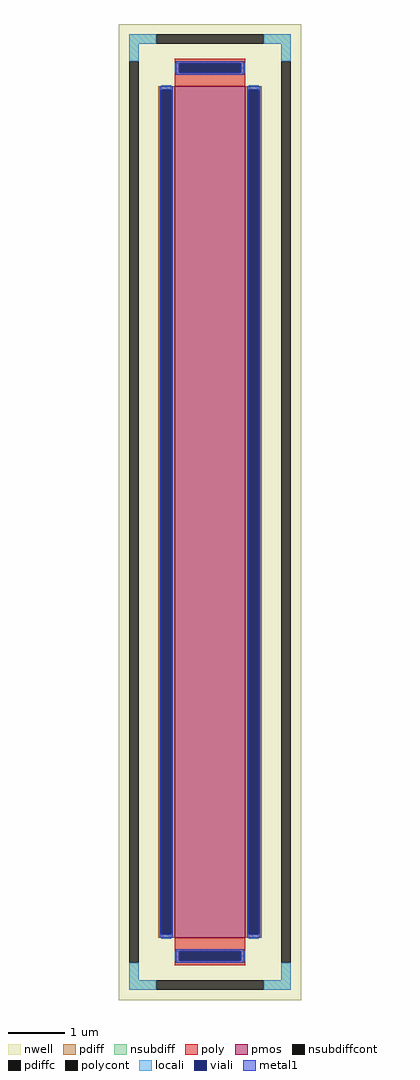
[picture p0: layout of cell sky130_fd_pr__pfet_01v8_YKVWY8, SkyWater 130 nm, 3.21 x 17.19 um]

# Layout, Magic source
magic
tech sky130A
magscale 1 2
<< nwell >>
rect -321 -1719 321 1719
<< pmos >>
rect -125 -1500 125 1500
<< pdiff >>
rect -183 1488 -125 1500
rect -183 -1488 -171 1488
rect -137 -1488 -125 1488
rect -183 -1500 -125 -1488
rect 125 1488 183 1500
rect 125 -1488 137 1488
rect 171 -1488 183 1488
rect 125 -1500 183 -1488
<< pdiffc >>
rect -171 -1488 -137 1488
rect 137 -1488 171 1488
<< nsubdiff >>
rect -285 1649 -189 1683
rect 189 1649 285 1683
rect -285 1587 -251 1649
rect 251 1587 285 1649
rect -285 -1649 -251 -1587
rect 251 -1649 285 -1587
rect -285 -1683 -189 -1649
rect 189 -1683 285 -1649
<< nsubdiffcont >>
rect -189 1649 189 1683
rect -285 -1587 -251 1587
rect 251 -1587 285 1587
rect -189 -1683 189 -1649
<< poly >>
rect -125 1581 125 1597
rect -125 1547 -109 1581
rect 109 1547 125 1581
rect -125 1500 125 1547
rect -125 -1547 125 -1500
rect -125 -1581 -109 -1547
rect 109 -1581 125 -1547
rect -125 -1597 125 -1581
<< polycont >>
rect -109 1547 109 1581
rect -109 -1581 109 -1547
<< locali >>
rect -285 1649 -189 1683
rect 189 1649 285 1683
rect -285 1587 -251 1649
rect 251 1587 285 1649
rect -125 1547 -109 1581
rect 109 1547 125 1581
rect -171 1488 -137 1504
rect -171 -1504 -137 -1488
rect 137 1488 171 1504
rect 137 -1504 171 -1488
rect -125 -1581 -109 -1547
rect 109 -1581 125 -1547
rect -285 -1649 -251 -1587
rect 251 -1649 285 -1587
rect -285 -1683 -189 -1649
rect 189 -1683 285 -1649
<< viali >>
rect -109 1547 109 1581
rect -171 -1488 -137 1488
rect 137 -1488 171 1488
rect -109 -1581 109 -1547
<< metal1 >>
rect -121 1581 121 1587
rect -121 1547 -109 1581
rect 109 1547 121 1581
rect -121 1541 121 1547
rect -177 1488 -131 1500
rect -177 -1488 -171 1488
rect -137 -1488 -131 1488
rect -177 -1500 -131 -1488
rect 131 1488 177 1500
rect 131 -1488 137 1488
rect 171 -1488 177 1488
rect 131 -1500 177 -1488
rect -121 -1547 121 -1541
rect -121 -1581 -109 -1547
rect 109 -1581 121 -1547
rect -121 -1587 121 -1581
<< properties >>
string FIXED_BBOX -268 -1666 268 1666
string gencell sky130_fd_pr__pfet_01v8
string library sky130
string parameters w 15 l 1.25 m 1 nf 1 diffcov 100 polycov 100 guard 1 glc 1 grc 1 gtc 1 gbc 1 tbcov 100 rlcov 100 topc 1 botc 1 poverlap 0 doverlap 1 lmin 0.15 wmin 0.42 compatible {sky130_fd_pr__pfet_01v8  sky130_fd_pr__pfet_01v8_lvt sky130_fd_pr__pfet_01v8_hvt  sky130_fd_pr__pfet_g5v0d10v5} full_metal 1 viasrc 100 viadrn 100 viagate 100 viagb 0 viagr 0 viagl 0 viagt 0
<< end >>
